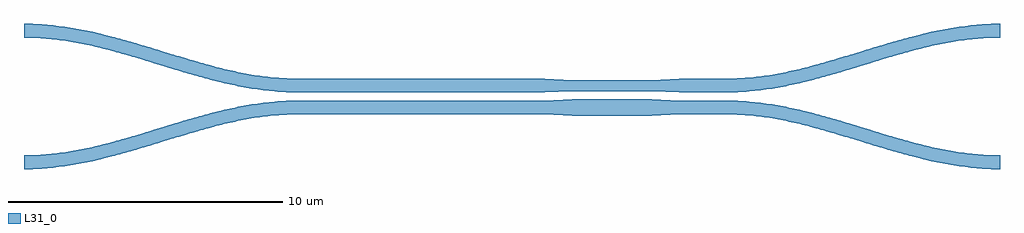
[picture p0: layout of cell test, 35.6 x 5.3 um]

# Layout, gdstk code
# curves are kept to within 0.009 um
import gdstk
lib = gdstk.Library(unit=1e-6, precision=1e-09)
def R(c, l, rs):  # rectangles x0, y0, x1, y1
    for r in rs: c.add(gdstk.rectangle(r[:2], r[2:], *l))
def P(c, l, *ps):  # polygons
    for p in ps: c.add(gdstk.Polygon(p, *l))
L31_0 = (31, 0)

test = lib.new_cell('test')
R(test, L31_0, [(10,-0.7,12.9,-0.1), (0,-0.65,9,-0.15), (13.9,-0.65,15.6,-0.15), (0,0.15,9,0.65), (13.9,0.15,15.6,0.65), (10,0.2,12.9,0.6)])
P(test, L31_0, [(9,0.15),(9,0.65),(10,0.6),(10,0.2)],
  [(10,-0.7),(9,-0.65),(9,-0.15),(10,-0.1)],
  [(13.9,0.15),(12.9,0.2),(12.9,0.6),(13.9,0.65)],
  [(12.9,-0.7),(12.9,-0.1),(13.9,-0.15),(13.9,-0.65)],
  [(25.6,-2.65),(25.065,-2.635),(24.538,-2.593),(24.018,-2.526),(23.403,-2.418),(22.797,-2.285),(22.098,-2.105),(19.262,-1.259),(18.092,-0.956),(17.404,-0.817),(16.909,-0.74),(16.208,-0.67),(15.6,-0.65),(15.6,-0.15),(16.135,-0.165),(16.662,-0.207),(17.182,-0.274),(17.797,-0.382),(18.403,-0.515),(19.102,-0.695),(21.938,-1.541),(23.108,-1.844),(23.796,-1.983),(24.291,-2.06),(24.992,-2.13),(25.6,-2.15)],
  [(15.6,0.15),(15.6,0.65),(16.208,0.67),(16.909,0.74),(17.404,0.817),(18.092,0.956),(19.262,1.259),(22.098,2.105),(22.797,2.285),(23.403,2.418),(24.018,2.526),(24.538,2.593),(25.065,2.635),(25.6,2.65),(25.6,2.15),(24.992,2.13),(24.291,2.06),(23.796,1.983),(23.108,1.844),(21.938,1.541),(19.102,0.695),(18.403,0.515),(17.797,0.382),(17.182,0.274),(16.662,0.207),(16.135,0.165)],
  [(-10,-2.65),(-10,-2.15),(-9.392,-2.13),(-8.691,-2.06),(-8.196,-1.983),(-7.508,-1.844),(-6.338,-1.541),(-3.502,-0.695),(-2.803,-0.515),(-2.197,-0.382),(-1.582,-0.274),(-1.062,-0.207),(-0.535,-0.165),(0,-0.15),(0,-0.65),(-0.608,-0.67),(-1.309,-0.74),(-1.804,-0.817),(-2.492,-0.956),(-3.662,-1.259),(-6.498,-2.105),(-7.197,-2.285),(-7.803,-2.418),(-8.418,-2.526),(-8.938,-2.593),(-9.465,-2.635)],
  [(0,0.15),(-0.535,0.165),(-1.062,0.207),(-1.582,0.274),(-2.197,0.382),(-2.803,0.515),(-3.502,0.695),(-6.338,1.541),(-7.508,1.844),(-8.196,1.983),(-8.691,2.06),(-9.392,2.13),(-10,2.15),(-10,2.65),(-9.465,2.635),(-8.938,2.593),(-8.418,2.526),(-7.803,2.418),(-7.197,2.285),(-6.498,2.105),(-3.662,1.259),(-2.492,0.956),(-1.804,0.817),(-1.309,0.74),(-0.608,0.67),(0,0.65)])

lib.write_gds('test.gds')
